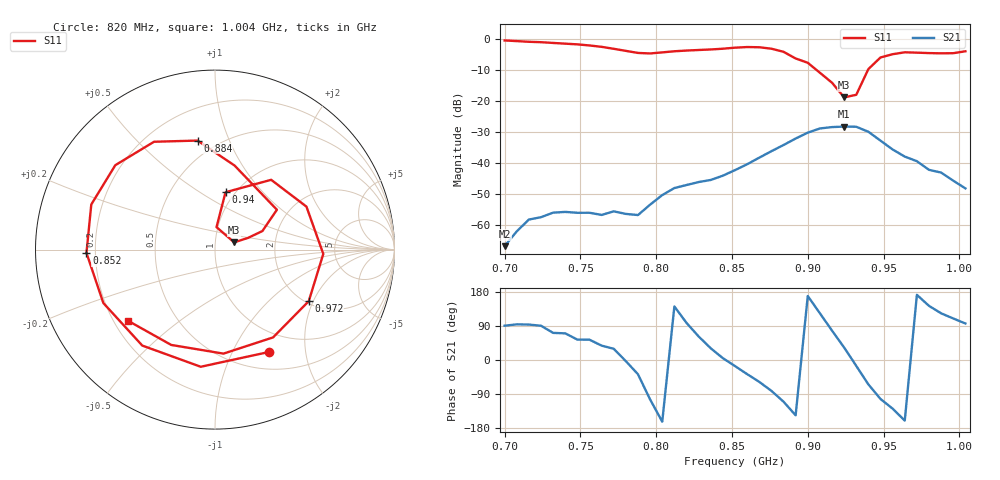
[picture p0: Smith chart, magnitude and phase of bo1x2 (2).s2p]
# Hz S RI R 50
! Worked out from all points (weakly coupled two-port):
!   39 points, 700 MHz to 1.004 GHz, reference 50 ohm
!   highest |S21| = -28.24 dB at 924 MHz (marker M1); lowest = -66.6 dB at 700 MHz (marker M2)
!   lowest |S11| = -18.9 dB at 924 MHz (marker M3), VSWR 1.26, Z = 61.7 + j5.05 ohm
!   |S11| at or under -10 dB: 905.6 MHz to 939.8 MHz (34.13 MHz wide, 3.7 % of centre)
!   S12 and S22 are empty: the file has one direction only
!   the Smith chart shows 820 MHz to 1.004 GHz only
!   S11 on the Smith chart (normalised r, x): 820 MHz: 0.72, -1.40; 852 MHz: 0.17, -0.01; 884 MHz: 0.40, +0.77; 940 MHz: 0.91, +0.65; 972 MHz: 2.08, -1.85; 1.004 GHz: 0.26, -0.33
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7e8  0.7509 0.5585  -3.74e-06 0.000465  0 0  0 0
7.24e8  0.8448 -0.2386  -9.74e-06 0.00136  0 0  0 0
7.4e8  0.4615 -0.6914  0.000556 0.00155  0 0  0 0
7.56e8  -0.1835 -0.7561  0.000949 0.00129  0 0  0 0
7.72e8  -0.6562 -0.2052  0.00147 0.000832  0 0  0 0
7.8e8  -0.5979 0.218  0.00153 -8.29e-05  0 0  0 0
7.96e8  0.2271 0.5323  -0.000532 -0.00209  0 0  0 0
8.04e8  0.5687 0.1972  -0.00294 -0.000913  0 0  0 0
8.2e8  0.2983 -0.5709  -0.000618 0.00442  0 0  0 0
8.36e8  -0.4052 -0.5347  0.00462 0.00277  0 0  0 0
8.52e8  -0.7162 -0.0182  0.00744 -0.00213  0 0  0 0
8.68e8  -0.5555 0.4703  0.00655 -0.0104  0 0  0 0
8.84e8  -0.0975 0.6074  -0.00666 -0.0184  0 0  0 0
9e8  0.3449 0.222  -0.0303 0.00594  0 0  0 0
9.08e8  0.2641 0.1034  -0.0198 0.0302  0 0  0 0
9.24e8  0.1068 0.0403  0.0325 0.0211  0 0  0 0
9.32e8  0.0084 0.1252  0.0371 -0.0103  0 0  0 0
9.4e8  0.0587 0.3196  0.0138 -0.0288  0 0  0 0
9.56e8  0.5095 0.2395  -0.0103 -0.013  0 0  0 0
9.72e8  0.5224 -0.2872  -0.0107 0.00152  0 0  0 0
9.88e8  0.047 -0.5796  -0.00387 0.00592  0 0  0 0
1.004e9  -0.4871 -0.3951  -0.000435 0.00392  0 0  0 0
